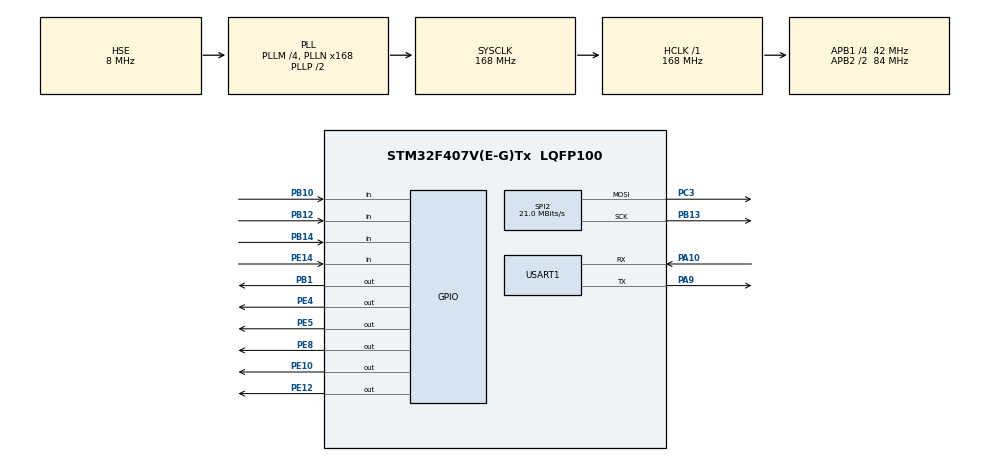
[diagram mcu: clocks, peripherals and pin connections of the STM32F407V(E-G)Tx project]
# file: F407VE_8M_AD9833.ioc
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Mcu.Family=STM32F4
PE12.GPIO_ModeDefaultOutputPP=GPIO_MODE_OUTPUT_PP
PC3.Mode=TX_Only_Simplex_Unidirect_Master
PE8.PinState=GPIO_PIN_SET
PH0-OSC_IN.Signal=RCC_OSC_IN
PE4.GPIO_ModeDefaultOutputPP=GPIO_MODE_OUTPUT_PP
RCC.CortexFreq_Value=168000000
PB10.GPIO_PuPd=GPIO_PULLDOWN
SPI2.VirtualType=VM_MASTER
PE8.GPIO_PuPd=GPIO_PULLUP
PE10.GPIO_PuPd=GPIO_PULLUP
PB13.Signal=SPI2_SCK
RCC.SYSCLKSource=RCC_SYSCLKSOURCE_PLLCLK
ProjectManager.StackSize=0x400
SPI2.CLKPolarity=SPI_POLARITY_HIGH
PE5.GPIO_PuPd=GPIO_PULLUP
PB1.GPIO_PuPd=GPIO_PULLUP
RCC.HCLKFreq_Value=168000000
RCC.APB2TimFreq_Value=168000000
PC3.Signal=SPI2_MOSI
PE5.Signal=GPIO_Output
RCC.AHBFreq_Value=168000000
SPI2.BaudRatePrescaler=SPI_BAUDRATEPRESCALER_2
PH0-OSC_IN.Mode=HSE-External-Oscillator
RCC.HSE_VALUE=8000000
PC14-OSC32_IN.Mode=LSE-External-Oscillator
PB1.GPIO_Speed=GPIO_SPEED_FREQ_VERY_HIGH
PA14.Mode=Serial_Wire
PE4.GPIO_Speed=GPIO_SPEED_FREQ_VERY_HIGH
PE5.PinState=GPIO_PIN_SET
SPI2.CalculateBaudRate=21.0 MBits/s
PE10.GPIO_ModeDefaultOutputPP=GPIO_MODE_OUTPUT_PP
PE10.GPIO_Speed=GPIO_SPEED_FREQ_VERY_HIGH
PE10.Signal=GPIO_Output
PE4.Signal=GPIO_Output
PB1.PinState=GPIO_PIN_SET
PH1-OSC_OUT.Mode=HSE-External-Oscillator
PB12.GPIO_Mode=GPIO_MODE_INPUT
Mcu.Package=LQFP100
PB1.Signal=GPIO_Output
PB14.GPIO_PuPd=GPIO_PULLDOWN
SPI2.Mode=SPI_MODE_MASTER
PA10.Signal=USART1_RX
PE12.GPIO_Speed=GPIO_SPEED_FREQ_VERY_HIGH
SPI2.CLKPhase=SPI_PHASE_2EDGE
PE8.GPIO_Speed=GPIO_SPEED_FREQ_VERY_HIGH
RCC.APB2CLKDivider=RCC_HCLK_DIV2
RCC.APB1TimFreq_Value=84000000
PE8.GPIO_ModeDefaultOutputPP=GPIO_MODE_OUTPUT_PP
SPI2.Direction=SPI_DIRECTION_2LINES
PE14.GPIO_Mode=GPIO_MODE_INPUT
PB13.Mode=TX_Only_Simplex_Unidirect_Master
NVIC.USART1_IRQn=true\:0\:0\:false\:false\:true\:true\:true
PE12.GPIO_PuPd=GPIO_PULLUP
PE10.PinState=GPIO_PIN_SET
RCC.PLLSourceVirtual=RCC_PLLSOURCE_HSE
PC15-OSC32_OUT.Mode=LSE-External-Oscillator
PA10.Mode=Asynchronous
RCC.APB1CLKDivider=RCC_HCLK_DIV4
PC14-OSC32_IN.Signal=RCC_OSC32_IN
PA13.Signal=SYS_JTMS-SWDIO
PA9.Mode=Asynchronous
PB10.GPIO_Mode=GPIO_MODE_INPUT
ProjectManager.TargetToolchain=MDK-ARM V5.27
PA9.Signal=USART1_TX
PC15-OSC32_OUT.Signal=RCC_OSC32_OUT
PB10.Signal=GPIO_Input
PB14.Signal=GPIO_Input
board=custom
RCC.VCOOutputFreq_Value=336000000
PB13.GPIO_PuPd=GPIO_PULLUP
RCC.APB2Freq_Value=84000000
PE14.Signal=GPIO_Input
PE8.Signal=GPIO_Output
PH1-OSC_OUT.Signal=RCC_OSC_OUT
PE14.GPIO_PuPd=GPIO_PULLDOWN
PA13.Mode=Serial_Wire
Mcu.Name=STM32F407V(E-G)Tx
PE12.Signal=GPIO_Output
PE4.GPIO_PuPd=GPIO_PULLUP
PE12.PinState=GPIO_PIN_SET
RCC.48MHZClocksFreq_Value=84000000
RCC.SYSCLKFreq_VALUE=168000000
USART1.VirtualMode=VM_ASYNC
PA14.Signal=SYS_JTCK-SWCLK
ProjectManager.HeapSize=0x200
PE5.GPIO_ModeDefaultOutputPP=GPIO_MODE_OUTPUT_PP
RCC.HSI_VALUE=16000000
NVIC.PriorityGroup=NVIC_PRIORITYGROUP_4
RCC.PLLM=4
RCC.PLLN=168
PE5.GPIO_Speed=GPIO_SPEED_FREQ_VERY_HIGH
PE4.PinState=GPIO_PIN_SET
SPI2.DataSize=SPI_DATASIZE_16BIT
PB1.GPIO_ModeDefaultOutputPP=GPIO_MODE_OUTPUT_PP
PB12.GPIO_PuPd=GPIO_PULLDOWN
RCC.APB1Freq_Value=42000000
PB14.GPIO_Mode=GPIO_MODE_INPUT
PB12.Signal=GPIO_Input

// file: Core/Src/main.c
/* USER CODE BEGIN Header */
/**
  ******************************************************************************
  * @file           : main.c
  * @brief          : Main program body
  ******************************************************************************
  * @attention
  *
  * <h2><center>&copy; Copyright (c) 2020 STMicroelectronics.
  * All rights reserved.</center></h2>
  *
  * This software component is licensed by ST under BSD 3-Clause license,
  * the "License"; You may not use this file except in compliance with the
  * License. You may obtain a copy of the License at:
  *                        opensource.org/licenses/BSD-3-Clause
  *
  ******************************************************************************
  */
/* USER CODE END Header */
#include "main.h"
#include "spi.h"
#include "usart.h"
#include "gpio.h"

/* USER CODE BEGIN Includes */
#include "DELAY/delay.h"
#include "AD9833/ad9833.h"
/* USER CODE END Includes */

/* USER CODE BEGIN PV */
uint16_t testData[7]={0x2100,0x50C7,0x4000,0xC000,0x2000};
/* USER CODE END PV */

void SystemClock_Config(void);

int main(void)
{
  /* USER CODE BEGIN 1 */
  uint8_t type=0;
  /* USER CODE END 1 */

  /* MCU Configuration--------------------------------------------------------*/

  /* Reset of all peripherals, Initializes the Flash interface and the Systick. */
  HAL_Init();

  /* Configure the system clock */
  SystemClock_Config();

  /* Initialize all configured peripherals */
  MX_GPIO_Init();
  MX_USART1_UART_Init();
  MX_SPI2_Init();
  /* USER CODE BEGIN 2 */
  Delay_Init(168);
  AD9833_Init();
  Delay_ms(1500);

  AD9833_SendRaw(testData[0]);
  AD9833_SendRaw(testData[1]);
  AD9833_SendRaw(testData[2]);
  AD9833_SendRaw(testData[3]);
  AD9833_SendRaw(testData[4]);
  /* USER CODE END 2 */

  /* Infinite loop */
  while (1)
  {

    /* USER CODE BEGIN 3 */
    AD9833_SetWaveType((AD9833_WaveType)(type++));
    type%=6;
    Delay_ms(2000);
  }
  /* USER CODE END 3 */
}

void SystemClock_Config(void)
{
  RCC_OscInitTypeDef RCC_OscInitStruct = {0};
  RCC_ClkInitTypeDef RCC_ClkInitStruct = {0};

  /** Configure the main internal regulator output voltage
  */
  __HAL_RCC_PWR_CLK_ENABLE();
  __HAL_PWR_VOLTAGESCALING_CONFIG(PWR_REGULATOR_VOLTAGE_SCALE1);
  /** Initializes the RCC Oscillators according to the specified parameters
  * in the RCC_OscInitTypeDef structure.
  */
  RCC_OscInitStruct.OscillatorType = RCC_OSCILLATORTYPE_HSE;
  RCC_OscInitStruct.HSEState = RCC_HSE_ON;
  RCC_OscInitStruct.PLL.PLLState = RCC_PLL_ON;
  RCC_OscInitStruct.PLL.PLLSource = RCC_PLLSOURCE_HSE;
  RCC_OscInitStruct.PLL.PLLM = 4;
  RCC_OscInitStruct.PLL.PLLN = 168;
  RCC_OscInitStruct.PLL.PLLP = RCC_PLLP_DIV2;
  RCC_OscInitStruct.PLL.PLLQ = 4;
  if (HAL_RCC_OscConfig(&RCC_OscInitStruct) != HAL_OK)
  {
    Error_Handler();
  }
  /** Initializes the CPU, AHB and APB buses clocks
  */
  RCC_ClkInitStruct.ClockType = RCC_CLOCKTYPE_HCLK|RCC_CLOCKTYPE_SYSCLK
                              |RCC_CLOCKTYPE_PCLK1|RCC_CLOCKTYPE_PCLK2;
  RCC_ClkInitStruct.SYSCLKSource = RCC_SYSCLKSOURCE_PLLCLK;
  RCC_ClkInitStruct.AHBCLKDivider = RCC_SYSCLK_DIV1;
  RCC_ClkInitStruct.APB1CLKDivider = RCC_HCLK_DIV4;
  RCC_ClkInitStruct.APB2CLKDivider = RCC_HCLK_DIV2;

  if (HAL_RCC_ClockConfig(&RCC_ClkInitStruct, FLASH_LATENCY_5) != HAL_OK)
  {
    Error_Handler();
  }
}

void Error_Handler(void)
{
}

/************************ (C) COPYRIGHT STMicroelectronics *****END OF FILE****/
